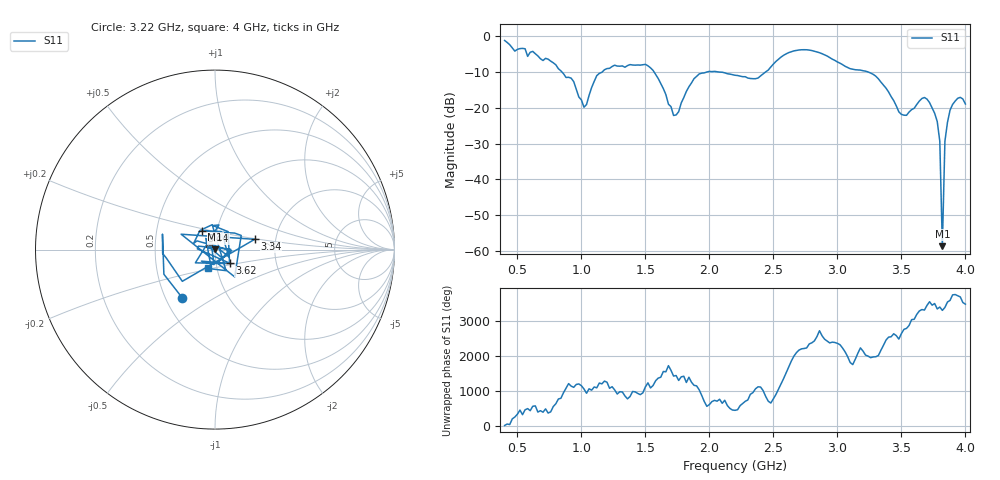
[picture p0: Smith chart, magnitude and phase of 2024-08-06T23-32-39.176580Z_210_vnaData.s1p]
!Created with skrf (http://scikit-rf.org).
# Hz S RI R 50.0
!freq ReS11 ImS11
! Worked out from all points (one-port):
!   181 points, 400 MHz to 4 GHz, reference 50 ohm
!   lowest |S11| = -58.7 dB at 3.82 GHz (marker M1), VSWR 1.00, Z = 50 + j0.111 ohm
!   |S11| at or under -10 dB: 1.568 GHz to 1.982 GHz (413.9 MHz wide, 23.3 % of centre); 2.072 GHz to 2.439 GHz (366.7 MHz wide, 16.3 % of centre); 3.24 GHz to end of sweep (the widest 3 of 4)
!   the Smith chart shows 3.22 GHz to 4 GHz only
!   S11 on the Smith chart (normalised r, x): 3.22 GHz: 0.61, -0.36; 3.34 GHz: 1.55, +0.19; 3.44 GHz: 0.85, +0.18; 3.62 GHz: 1.16, -0.18; 4 GHz: 0.90, -0.19
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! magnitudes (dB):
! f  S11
! 400 MHz  -1.2
! 860 MHz  -10.5
! 940 MHz  -12.7
! 1.02 GHz  -19.9
! 1.12 GHz  -11.0
! 1.3 GHz  -8.4
! 1.52 GHz  -8.3
! 1.72 GHz  -22.2
! 1.76 GHz  -21.1
! 1.92 GHz  -10.6
! 2.2 GHz  -10.9
! 2.38 GHz  -11.7
! 2.66 GHz  -4.1
! 3.1 GHz  -9.1
! 3.22 GHz  -9.8
! 3.34 GHz  -12.8
! 3.44 GHz  -18.0
! 3.5 GHz  -21.9
! 3.56 GHz  -21.2
! 3.62 GHz  -19.1
! 3.7 GHz  -17.6
! 3.78 GHz  -23.8
! 3.8 GHz  -29.4
! 3.82 GHz  -58.7
! 3.84 GHz  -29.3
! 3.86 GHz  -24.1
! 3.94 GHz  -17.4
! 4 GHz  -19.0
